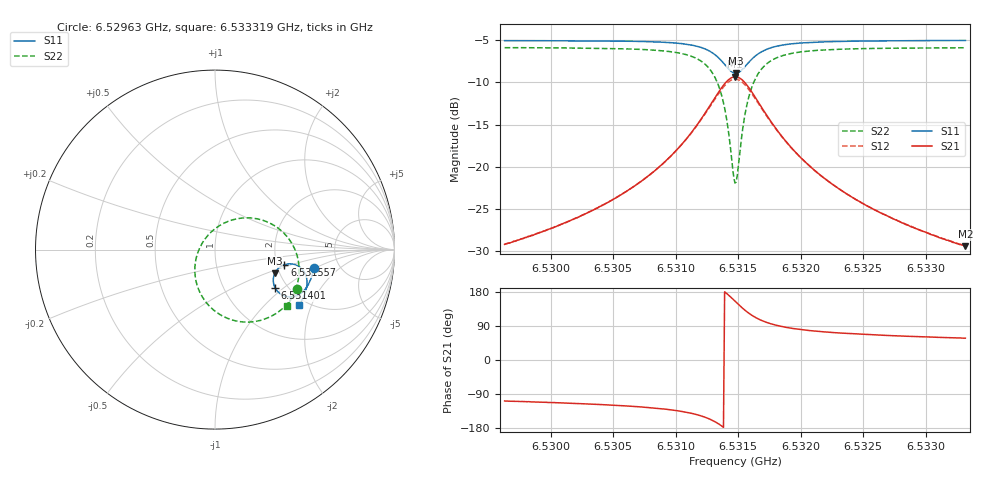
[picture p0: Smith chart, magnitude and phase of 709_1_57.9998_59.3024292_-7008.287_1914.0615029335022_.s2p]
#  HZ  S  RI  R  50.00
! Rohde & Schwarz Vector Network Analyzer
! Rohde-Schwarz,ZNB20-2Port,1311601062101988,3.16
! Created: UTC 3/21/2024, 1:22:05 AM
! freq[Hz]  re:S11  im:S11  re:S21  im:S21  re:S12  im:S12  re:S22  im:S22
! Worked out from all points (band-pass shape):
!   401 points, 6.52963 GHz to 6.533319 GHz, reference 50 ohm
!   highest |S21| = -9.32 dB at 6.531474 GHz (marker M1); lowest = -29.4 dB at 6.533319 GHz (marker M2)
!   |S21| within 3 dB of the highest: 6.531292 GHz to 6.53166 GHz (368.4 kHz wide, 0.00564 % of centre)
!   lowest |S11| = -8.9 dB at 6.531484 GHz (marker M3), VSWR 2.12, Z = 94.3 - j28.6 ohm
!   |S11| at or under -10 dB: nowhere
!   |S22| runs from -21.9 to -5.9 dB; largest |S21 - S12| = 0.014
!   S11 on the Smith chart (normalised r, x): 6.52963 GHz: 3.24, -0.96; 6.531401 GHz: 1.73, -0.88; 6.531557 GHz: 2.20, -0.44; 6.533319 GHz: 1.82, -1.64
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6.5296299e9  0.551 -0.102  -0.0107 -0.0328  -0.0115 -0.0326  0.4583 -0.2212
6.5302478e9  0.5373 -0.1543  -0.022 -0.0464  -0.0231 -0.0459  0.4215 -0.2796
6.5305798e9  0.5243 -0.1862  -0.0355 -0.0597  -0.0371 -0.0588  0.386 -0.3195
6.5308658e9  0.5043 -0.2184  -0.0611 -0.0782  -0.0635 -0.0765  0.3285 -0.3631
6.5310871e9  0.4721 -0.248  -0.1091 -0.0983  -0.1121 -0.0941  0.2323 -0.3992
6.5312439e9  0.4214 -0.2636  -0.1882 -0.0995  -0.19 -0.0909  0.0894 -0.3901
6.5313361e9  0.3711 -0.2509  -0.2655 -0.0608  -0.2626 -0.0494  -0.0362 -0.3096
6.531373e9  0.3492 -0.2335  -0.2973 -0.0244  -0.2911 -0.0128  -0.0824 -0.2421
6.5314007e9  0.3352 -0.2136  -0.3162 0.0136  -0.3069 0.0241  -0.1058 -0.1755
6.531456e9  0.3253 -0.1604  -0.3216 0.1097  -0.3086 0.1146  -0.0959 -0.0171
6.5314744e9  0.3295 -0.1414  -0.3108 0.1426  -0.2972 0.1453  -0.0721 0.0345
6.5314837e9  0.3331 -0.1324  -0.3028 0.158  -0.2895 0.1596  -0.0562 0.0583
6.5315021e9  0.3431 -0.1157  -0.2829 0.1864  -0.2701 0.1857  -0.0185 0.1006
6.5315574e9  0.3863 -0.0841  -0.2034 0.2382  -0.1949 0.2338  0.1211 0.1715
6.5315851e9  0.4094 -0.0793  -0.1625 0.2457  -0.1564 0.2411  0.1899 0.177
6.531622e9  0.4367 -0.0812  -0.1151 0.2423  -0.1114 0.2382  0.2685 0.1627
6.5317142e9  0.4813 -0.1051  -0.0394 0.2057  -0.0377 0.2034  0.3905 0.0843
6.5318526e9  0.5066 -0.1449  0.00471 0.1504  0.00613 0.1494  0.4551 -0.0259
6.5320924e9  0.5127 -0.1923  0.0219 0.0953  0.0231 0.095  0.4682 -0.1378
6.5323783e9  0.5059 -0.2291  0.0234 0.064  0.0244 0.0636  0.4543 -0.2078
6.5327103e9  0.4942 -0.2613  0.0216 0.0453  0.0225 0.0451  0.4347 -0.2572
6.533319e9  0.4696 -0.3082  0.0181 0.0285  0.0188 0.0281  0.3992 -0.3145
